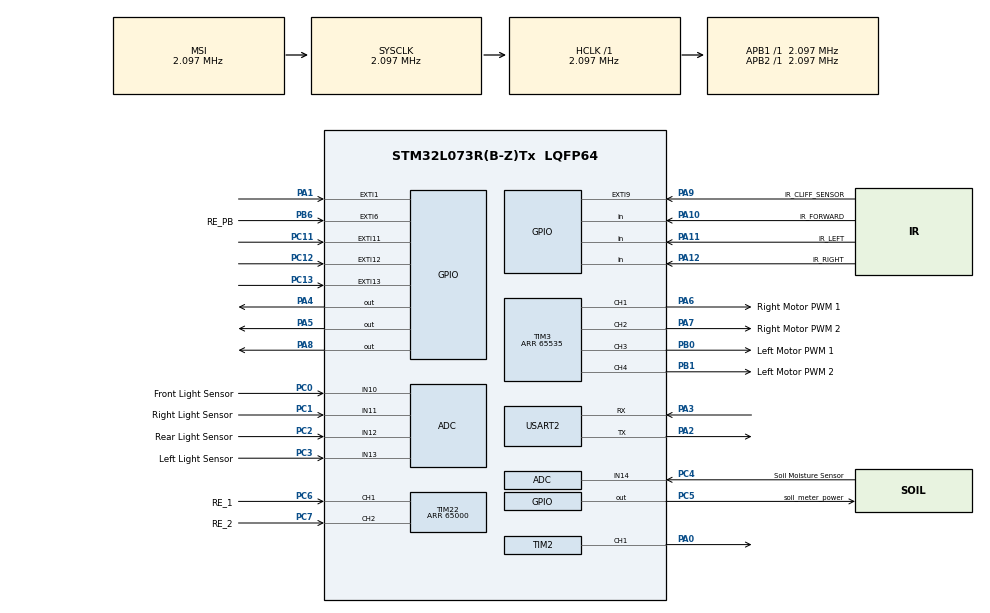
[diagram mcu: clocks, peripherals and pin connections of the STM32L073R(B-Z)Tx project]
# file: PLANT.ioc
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ADC.ClockPrescaler=ADC_CLOCK_SYNC_PCLK_DIV4
ADC.ContinuousConvMode=ENABLE
ADC.SamplingTime=ADC_SAMPLETIME_79CYCLES_5
Mcu.Family=STM32L0
Mcu.Name=STM32L073R(B-Z)Tx
Mcu.Package=LQFP64
NVIC.ADC1_COMP_IRQn=true\:0\:0\:false\:false\:true\:true\:true
NVIC.EXTI0_1_IRQn=true\:0\:0\:false\:false\:true\:true\:true
NVIC.EXTI4_15_IRQn=true\:0\:0\:false\:false\:true\:true\:true
NVIC.TIM21_IRQn=true\:0\:0\:false\:false\:true\:true\:true
NVIC.TIM22_IRQn=true\:0\:0\:false\:false\:true\:true\:true
NVIC.TIM6_DAC_IRQn=true\:0\:0\:false\:false\:true\:true\:true
PA0.GPIO_ModeDefaultPP=GPIO_MODE_AF_PP
PA0.GPIO_PuPd=GPIO_NOPULL
PA0.GPIO_Speed=GPIO_SPEED_FREQ_LOW
PA0.Signal=S_TIM2_CH1
PA1.Signal=GPXTI1
PA10.GPIO_Label=IR_FORWARD
PA10.Signal=GPIO_Input
PA11.GPIO_Label=IR_LEFT
PA11.Signal=GPIO_Input
PA12.GPIO_Label=IR_RIGHT
PA12.Signal=GPIO_Input
PA13.Mode=Serial_Wire
PA13.Signal=SYS_SWDIO
PA14.Mode=Serial_Wire
PA14.Signal=SYS_SWCLK
PA2.GPIO_ModeDefaultPP=GPIO_MODE_AF_PP
PA2.GPIO_PuPd=GPIO_NOPULL
PA2.GPIO_Speed=GPIO_SPEED_FREQ_VERY_HIGH
PA2.Mode=Asynchronous
PA2.Signal=USART2_TX
PA3.GPIO_ModeDefaultPP=GPIO_MODE_AF_PP
PA3.GPIO_PuPd=GPIO_NOPULL
PA3.GPIO_Speed=GPIO_SPEED_FREQ_VERY_HIGH
PA3.Mode=Asynchronous
PA3.Signal=USART2_RX
PA4.GPIO_ModeDefaultOutputPP=GPIO_MODE_OUTPUT_PP
PA4.GPIO_PuPd=GPIO_NOPULL
PA4.GPIO_Speed=GPIO_SPEED_FREQ_LOW
PA4.PinState=GPIO_PIN_RESET
PA4.Signal=GPIO_Output
PA5.GPIO_ModeDefaultOutputPP=GPIO_MODE_OUTPUT_PP
PA5.GPIO_PuPd=GPIO_NOPULL
PA5.GPIO_Speed=GPIO_SPEED_FREQ_LOW
PA5.PinState=GPIO_PIN_RESET
PA5.Signal=GPIO_Output
PA6.GPIO_Label=Right Motor PWM 1
PA6.GPIO_ModeDefaultPP=GPIO_MODE_AF_PP
PA6.GPIO_PuPd=GPIO_NOPULL
PA6.GPIO_Speed=GPIO_SPEED_FREQ_LOW
PA6.Signal=S_TIM3_CH1
PA7.GPIO_Label=Right Motor PWM 2
PA7.GPIO_ModeDefaultPP=GPIO_MODE_AF_PP
PA7.GPIO_PuPd=GPIO_NOPULL
PA7.GPIO_Speed=GPIO_SPEED_FREQ_LOW
PA7.Signal=S_TIM3_CH2
PA8.GPIO_ModeDefaultOutputPP=GPIO_MODE_OUTPUT_PP
PA8.GPIO_PuPd=GPIO_NOPULL
PA8.GPIO_Speed=GPIO_SPEED_FREQ_LOW
PA8.PinState=GPIO_PIN_RESET
PA8.Signal=GPIO_Output
PA9.GPIO_Label=IR_CLIFF_SENSOR
PA9.GPIO_ModeDefaultEXTI=GPIO_MODE_IT_RISING_FALLING
PA9.Signal=GPXTI9
PB0.GPIO_Label=Left Motor PWM 1
PB0.GPIO_ModeDefaultPP=GPIO_MODE_AF_PP
PB0.GPIO_PuPd=GPIO_NOPULL
PB0.GPIO_Speed=GPIO_SPEED_FREQ_LOW
PB0.Signal=S_TIM3_CH3
PB1.GPIO_Label=Left Motor PWM 2
PB1.GPIO_ModeDefaultPP=GPIO_MODE_AF_PP
PB1.GPIO_PuPd=GPIO_NOPULL
PB1.GPIO_Speed=GPIO_SPEED_FREQ_LOW
PB1.Signal=S_TIM3_CH4
PB6.GPIO_Label=RE_PB
PB6.GPIO_ModeDefaultEXTI=GPIO_MODE_IT_RISING
PB6.GPIO_PuPd=GPIO_NOPULL
PB6.Signal=GPXTI6
PC0.GPIO_Label=Front Light Sensor
PC0.Mode=IN10
PC0.Signal=ADC_IN10
PC1.GPIO_Label=Right Light Sensor
PC1.Mode=IN11
PC1.Signal=ADC_IN11
PC11.Signal=GPXTI11
PC12.Signal=GPXTI12
PC13.GPIO_ModeDefaultEXTI=GPIO_MODE_IT_RISING
PC13.GPIO_PuPd=GPIO_NOPULL
PC13.Signal=GPXTI13
PC14-OSC32_IN.Mode=LSE-External-Oscillator
PC14-OSC32_IN.Signal=RCC_OSC32_IN
PC15-OSC32_OUT.Mode=LSE-External-Oscillator
PC15-OSC32_OUT.Signal=RCC_OSC32_OUT
PC2.GPIO_Label=Rear Light Sensor
PC2.Mode=IN12
PC2.Signal=ADC_IN12
PC3.GPIO_Label=Left Light Sensor
PC3.Mode=IN13
PC3.Signal=ADC_IN13
PC4.GPIO_Label=Soil Moisture Sensor
PC4.Mode=IN14
PC4.Signal=ADC_IN14
PC5.GPIO_Label=soil_meter_power
PC5.GPIO_ModeDefaultOutputPP=GPIO_MODE_OUTPUT_PP
PC5.PinState=GPIO_PIN_SET
PC5.Signal=GPIO_Output
PC6.GPIO_Label=RE_1
PC6.GPIO_ModeDefaultPP=GPIO_MODE_AF_PP
PC6.GPIO_PuPd=GPIO_NOPULL
PC6.GPIO_Speed=GPIO_SPEED_FREQ_LOW
PC6.Signal=S_TIM22_CH1
PC7.GPIO_Label=RE_2
PC7.GPIO_ModeDefaultPP=GPIO_MODE_AF_PP
PC7.GPIO_PuPd=GPIO_NOPULL
PC7.GPIO_Speed=GPIO_SPEED_FREQ_LOW
PC7.Signal=S_TIM22_CH2
PH0-OSC_IN.Mode=HSE-External-Oscillator
PH0-OSC_IN.Signal=RCC_OSC_IN
PH1-OSC_OUT.Mode=HSE-External-Oscillator
PH1-OSC_OUT.Signal=RCC_OSC_OUT
ProjectManager.HeapSize=0x200
ProjectManager.StackSize=0x400
ProjectManager.TargetToolchain=STM32CubeIDE
RCC.AHBFreq_Value=2097000
RCC.APB1Freq_Value=2097000
RCC.APB1TimFreq_Value=2097000
RCC.APB2Freq_Value=2097000
RCC.APB2TimFreq_Value=2097000
RCC.HSE_VALUE=8000000
RCC.HSI16_VALUE=16000000
RCC.HSI48_VALUE=48000000
RCC.HSI_VALUE=16000000
RCC.MSI_VALUE=2097000
RCC.SYSCLKFreq_VALUE=2097000
RCC.VCOOutputFreq_Value=48000000
RTC.Alarm-Alarm\ A=RTC_ALARM_A
RTC.AlarmMaskDateWeekDay-Alarm\ A=RTC_ALARMMASK_DATEWEEKDAY
SH.S_TIM22_CH1.0=TIM22_CH1,Encoder_Interface
SH.S_TIM22_CH2.0=TIM22_CH2,Encoder_Interface
SH.S_TIM2_CH1.0=TIM2_CH1,PWM Generation1 CH1
SH.S_TIM3_CH1.0=TIM3_CH1,PWM Generation1 CH1
SH.S_TIM3_CH2.0=TIM3_CH2,PWM Generation2 CH2
SH.S_TIM3_CH3.0=TIM3_CH3,PWM Generation3 CH3
SH.S_TIM3_CH4.0=TIM3_CH4,PWM Generation4 CH4
TIM2.Channel-PWM\ Generation1\ CH1=TIM_CHANNEL_1
TIM2.Period=9
TIM2.Prescaler=20
TIM2.Pulse-PWM\ Generation1\ CH1=9
TIM21.Channel-Output\ Compare1\ No\ Output=TIM_CHANNEL_1
TIM21.OCMode_1=TIM_OCMODE_ACTIVE
TIM21.Period=209
TIM21.Prescaler=0
TIM22.CounterMode=TIM_COUNTERMODE_UP
TIM22.EncoderMode=TIM_ENCODERMODE_TI12
TIM22.IC1Filter=10
TIM22.IC1Polarity=TIM_ICPOLARITY_FALLING
TIM22.IC1Prescaler=TIM_ICPSC_DIV1
TIM22.IC2Filter=10
TIM22.IC2Polarity=TIM_ICPOLARITY_FALLING
TIM22.IC2Prescaler=TIM_ICPSC_DIV1
TIM22.Period=65000
TIM3.Channel-PWM\ Generation1\ CH1=TIM_CHANNEL_1
TIM3.Channel-PWM\ Generation2\ CH2=TIM_CHANNEL_2
TIM3.Channel-PWM\ Generation3\ CH3=TIM_CHANNEL_3
TIM3.Channel-PWM\ Generation4\ CH4=TIM_CHANNEL_4
TIM3.Period=65535
TIM6.Period=499
TIM6.Prescaler=2099
USART2.VirtualMode-Asynchronous=VM_ASYNC
VP_RTC_VS_RTC_Activate.Mode=RTC_Enabled
VP_RTC_VS_RTC_Alarm_A_Intern.Mode=Alarm A
VP_RTC_VS_RTC_Calendar.Mode=RTC_Calendar
VP_TIM21_VS_no_output1.Mode=Output Compare1 No Output
VP_TIM2_VS_ClockSourceINT.Mode=Internal
VP_TIM2_VS_ClockSourceITR.Mode=TriggerSource_ITR0
VP_TIM6_VS_ClockSourceINT.Mode=Enable_Timer
board=NUCLEO-L073RZ

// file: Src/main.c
/* USER CODE BEGIN Header */
/**
  ******************************************************************************
  * @file           : main.c
  * @brief          : Main program body
  ******************************************************************************
  * @attention
  *
  * <h2><center>&copy; Copyright (c) 2019 STMicroelectronics.
  * All rights reserved.</center></h2>
  *
  * This software component is licensed by ST under BSD 3-Clause license,
  * the "License"; You may not use this file except in compliance with the
  * License. You may obtain a copy of the License at:
  *                        opensource.org/licenses/BSD-3-Clause
  *
  ******************************************************************************
  */
/* USER CODE END Header */

#include "main.h"

/* USER CODE BEGIN Includes */
//#define ARM_MATH_CM0PLUS
//#define ARM_MATH_CM0_FAMILY
//#define __FPU_PRESENT 1
//#include "arm_math.h"
#include "stdio.h"
#include "math.h"
/* USER CODE END Includes */

/* USER CODE BEGIN PD */
#define WHEEL_DIAMETER 65.0 // Wheel Diameter in mm
#define WHEEL_CIRCUMFRENCE 204 // Wheel Circumfrence in mm
#define ENCODER_PPR 800 // 800 pulses per one wheel revolution.
#define MOTOR_MAX_SPEED 65535 // uint16_t max
// Movement Directional Defines
#define TURN_LEFT 0
#define TURN_RIGHT 1
#define FORWARD 2
#define REVERSE 3
// Robot Cardinal Directions
#define ROBOT_FRONT 0
#define ROBOT_LEFT 1
#define ROBOT_REAR 2
#define ROBOT_RIGHT 3

// printf redirect
//#ifdef __GNUC__
/* With GCC/RAISONANCE, small printf (option LD Linker->Libraries->Small printf
 set to 'Yes') calls __io_putchar() */
#define PUTCHAR_PROTOTYPE int __io_putchar(int ch)
//#else
//#define PUTCHAR_PROTOTYPE int fputc(int ch, FILE *f)
//#endif /* __GNUC__ */

void myTim2Init(void);
void myDMAInit(uint32_t* buffer, uint32_t length);
void push_button(void);
/* USER CODE END PD */

/* USER CODE BEGIN PM */

// Enable Left sensor
void init_Left(){
	GPIOA->ODR |= GPIO_PIN_4;
}
void init_Right(){
	GPIOA->ODR &= ~GPIO_PIN_4;
	GPIOA->ODR |= GPIO_PIN_8;
}
void init_Straight(){
	GPIOA->ODR &= ~GPIO_PIN_8;
}
void myTim2Init(void){
	RCC->IOPENR |= RCC_IOPENR_IOPAEN;
	RCC->APB1ENR |= RCC_APB1ENR_TIM2EN;
	GPIOA->MODER |= 2;
	GPIOA->AFR[0] |= 2;
	GPIOA->OSPEEDR |= 2;
	TIM2->PSC = 20;
	TIM2->ARR = 9;
	TIM2->CCMR1 |= TIM_CCMR1_OC1M_2 | TIM_CCMR1_OC1M_1;
	TIM2->CCR1 = 9;
	TIM2->CCER |= 1;
	TIM2->CR1 |= 1;
	RCC->APB1ENR |= RCC_APB1ENR_TIM2EN;
	RCC->APB1ENR |= RCC_APB1ENR_TIM6EN;
}
void myDMAInit(uint32_t* buffer, uint32_t length){
	RCC->AHBENR |= RCC_AHBENR_DMA1EN;
	DMA1_Channel1->CCR &= ~DMA_CCR_MEM2MEM;

	DMA1_Channel1->CCR &= ~DMA_CCR_PL;
	DMA1_Channel1->CCR |= DMA_CCR_PL_1;

	DMA1_Channel1->CCR &= ~DMA_CCR_PSIZE;
	DMA1_Channel1->CCR |= DMA_CCR_PSIZE_0; // 16bits

	DMA1_Channel1->CCR &= ~DMA_CCR_MSIZE;
	DMA1_Channel1->CCR |= DMA_CCR_MSIZE_0; // 16bits

	DMA1_Channel1->CCR &= ~DMA_CCR_PINC;

	DMA1_Channel1->CCR |= DMA_CCR_MINC;

	DMA1_Channel1->CCR &= ~DMA_CCR_CIRC;
	DMA1_Channel1->CCR |= DMA_CCR_CIRC;

	DMA1_Channel1->CCR &= ~DMA_CCR_DIR;

	DMA1_Channel1->CNDTR = length;

	DMA1_Channel1->CPAR = (uint32_t) &(ADC1->DR);

	DMA1_Channel1->CMAR = (uint32_t) buffer;

	DMA1_CSELR->CSELR &= ~DMA_CSELR_C1S;
	DMA1_Channel1->CCR |= DMA_CCR_EN;
}
/* USER CODE END PM */

ADC_HandleTypeDef hadc;

RTC_HandleTypeDef hrtc;

TIM_HandleTypeDef htim2;
TIM_HandleTypeDef htim3;
TIM_HandleTypeDef htim6;
TIM_HandleTypeDef htim21;
TIM_HandleTypeDef htim22;

UART_HandleTypeDef huart2;

/* USER CODE BEGIN PV */
//uint32_t nLoop=0;
//int r_enc_cnt = 0;
int r_dir; // set initial dir of both motors to forward
int l_dir;
int cms = 0;
int seconds = 0;
int r_enc_setpoint = 0;
int r_enc_currentPos = 0;
int l_enc_setpoint = 0;
int l_enc_currentPos = 0;
//arm_pid_instance_f32 R_PID;
//arm_pid_instance_f32 L_PID;
uint32_t nLoop=0;
int sense1 = 0;
int sense2 = 0;
int sense3 = 0;
int sense4 = 0;
int ten_hz_counter=0;
uint16_t ADC_Values[5], buffer[5];
int state = 0;
int Kp = 100;
int i = 0;
int hold = 0;
int ir_seeking;
int count = 0;
int left = 0;
int right = 0;
int LCheck = 0;
int RCheck = 0;
int move = 0;
char checkSoil = 0;
char cliff_detected = 0;
char obstacle_detected = 0;
uint8_t next_second;
int robot_x;
int robot_y;
float robot_theta;
int push = 0;
int LLevel = 0;
/* USER CODE END PV */

void SystemClock_Config(void);
static void MX_GPIO_Init(void);
static void MX_USART2_UART_Init(void);
static void MX_TIM2_Init(void);
static void MX_TIM6_Init(void);
static void MX_TIM21_Init(void);
static void MX_TIM22_Init(void);
static void MX_TIM3_Init(void);
static void MX_ADC_Init(void);
static void MX_RTC_Init(void);
/* USER CODE BEGIN PFP */
void Left_Motor_PWM_Gen(int speed, int brake);
void Left_Motor_Position_Controller(void);
void Right_Motor_Position_Controller(void);
void Right_Motor_PWM_Gen(int speed, int brake);
int check_light(void);
int light_direction(void);
void turn_until_light(int dir, int compare_value);
void forward_until_light(int compare_value);
void IR_LOCATE(void);
//void Read_Light_Sensors(void);

/* USER CODE END PFP */

int main(void)
{

  /* MCU Configuration--------------------------------------------------------*/

  /* Reset of all peripherals, Initializes the Flash interface and the Systick. */
  HAL_Init();

  /* USER CODE BEGIN Init */
//  R_PID.Kp = 500;
//  R_PID.Kd = 0;
//  R_PID.Ki = 0;
//  arm_pid_init_f32(&R_PID, 1);
//  L_PID.Kp = 500;
//  L_PID.Kd = 0;
//  L_PID.Ki = 0;
//  arm_pid_init_f32(&L_PID, 1);
  /* USER CODE END Init */

  /* Configure the system clock */
  SystemClock_Config();

  /* Initialize all configured peripherals */
  MX_GPIO_Init();
  MX_USART2_UART_Init();
  MX_TIM2_Init();
  MX_TIM6_Init();
  MX_TIM21_Init();
  MX_TIM22_Init();
  MX_TIM3_Init();
  MX_ADC_Init();
  MX_RTC_Init();
  /* USER CODE BEGIN 2 */
  r_enc_setpoint = 0;
  l_enc_setpoint = 0;

  printf("Hello...\r\n");
  HAL_ADCEx_Calibration_Start(&hadc, ADC_SINGLE_ENDED);
  HAL_TIM_PWM_Start(&htim3, TIM_CHANNEL_1);
  HAL_TIM_PWM_Start(&htim3, TIM_CHANNEL_2);
  HAL_TIM_PWM_Start(&htim3, TIM_CHANNEL_3);
  HAL_TIM_PWM_Start(&htim3, TIM_CHANNEL_4);
//  HAL_ADC_Start_DMA(&hadc, (uint32_t*)buffer, 20);
  myTim2Init();
  TIM6->CR1 |= 1;
  HAL_TIM_Base_Start_IT(&htim6);
  HAL_TIM_Base_Start_IT(&htim21);
  HAL_TIM_Encoder_Start_IT(&htim22,TIM_CHANNEL_ALL);
  __HAL_TIM_SET_COMPARE(&htim21, TIM_CHANNEL_1, 0);
  __HAL_RTC_ALARM_ENABLE_IT(&hrtc, RTC_IT_ALRA);

  /* USER CODE END 2 */

  /* Infinite loop */
  /* USER CODE BEGIN WHILE */
  int dir = 0;
  // ADC DMA Config
  myDMAInit((uint32_t*) buffer, 5);
  ADC1->CFGR1 |= ADC_CFGR1_DMACFG;
  ADC1->CFGR1 |= ADC_CFGR1_DMAEN;
  ADC1->CFGR1 |= ADC_CFGR1_CONT;
  ADC1->IER |= ADC_IER_EOSIE;
  ADC1->CR |= ADC_CR_ADEN;
  ADC1->CR |= ADC_CR_ADSTART;
  state = 0;
  ir_seeking = 0;

  // Intialize robot spacial reference
  robot_x = 0;
  robot_y = 0;
  robot_theta = 0;

  while (1)
  {
    /* USER CODE END WHILE */

    /* USER CODE BEGIN 3 */
//	  RTC_TimeTypeDef sTime;
//	  		HAL_RTC_GetTime(&hrtc, &sTime, RTC_FORMAT_BCD);
//	  		printf("Current Time: %2u:%2u:%2u\r\n", sTime.Hours, sTime.Minutes, sTime.Seconds);

	if(state==0){
		dir = check_light();

			if(dir != -1 && dir != ROBOT_FRONT){
				turn_until_light(dir==ROBOT_LEFT?TURN_LEFT:TURN_RIGHT, 0);
			} else {
				if(!obstacle_detected)
					forward_until_light(-1);
				else
					move_robot(0,0);
			}
	}
	if(state==1){
		// ToDo: Ultrasonic Turning Demo next
		if(!obstacle_detected)
			move_robot(FORWARD,30000);
		else {
			if(move == 1){
				move_robot(TURN_LEFT, 30000);
			} else if(move == 2){
				move_robot(TURN_RIGHT, 30000);
			} else
				move_robot(0,0);
		}
	}
	if(state == 2 || state == 3){
		move_robot(0,0);
	}
	if(state==4){
	// IR Seeking Demo
			IR_LOCATE();
	}
	i = TIM22->CNT;
	HAL_Delay(200);
	if (hold > i){
		if (push) {
			LLevel--;
			if (LLevel < 0){
				LLevel = 3;
			}
			printf("Current Light level: %d\r\n", LLevel);
		}
		printf("turn left\r\n");
		hold = i;
	}
	else if (hold < i) {
		if (push){
			LLevel = ++LLevel % 4;
			printf("Current Light level: %d\r\n", LLevel);
		}
	  printf("turn right\r\n");
	  hold = i;
	}

	if(checkSoil){
		printf("soil moisture level %d\r\n", ADC_Values[4]);
		checkSoil = 0;
	}
	cliff_sense();
//	HAL_Delay(200);
//	printf("i = %d\r\n", i);
  }
  /* USER CODE END 3 */
}

void SystemClock_Config(void)
{
  RCC_OscInitTypeDef RCC_OscInitStruct = {0};
  RCC_ClkInitTypeDef RCC_ClkInitStruct = {0};
  RCC_PeriphCLKInitTypeDef PeriphClkInit = {0};

  /** Configure the main internal regulator output voltage
  */
  __HAL_PWR_VOLTAGESCALING_CONFIG(PWR_REGULATOR_VOLTAGE_SCALE1);
  /** Initializes the CPU, AHB and APB busses clocks
  */
  RCC_OscInitStruct.OscillatorType = RCC_OSCILLATORTYPE_LSI|RCC_OSCILLATORTYPE_MSI;
  RCC_OscInitStruct.LSIState = RCC_LSI_ON;
  RCC_OscInitStruct.MSIState = RCC_MSI_ON;
  RCC_OscInitStruct.MSICalibrationValue = 0;
  RCC_OscInitStruct.MSIClockRange = RCC_MSIRANGE_5;
  RCC_OscInitStruct.PLL.PLLState = RCC_PLL_NONE;
  if (HAL_RCC_OscConfig(&RCC_OscInitStruct) != HAL_OK)
  {
    Error_Handler();
  }
  /** Initializes the CPU, AHB and APB busses clocks
  */
  RCC_ClkInitStruct.ClockType = RCC_CLOCKTYPE_HCLK|RCC_CLOCKTYPE_SYSCLK
                              |RCC_CLOCKTYPE_PCLK1|RCC_CLOCKTYPE_PCLK2;
  RCC_ClkInitStruct.SYSCLKSource = RCC_SYSCLKSOURCE_MSI;
  RCC_ClkInitStruct.AHBCLKDivider = RCC_SYSCLK_DIV1;
  RCC_ClkInitStruct.APB1CLKDivider = RCC_HCLK_DIV1;
  RCC_ClkInitStruct.APB2CLKDivider = RCC_HCLK_DIV1;

  if (HAL_RCC_ClockConfig(&RCC_ClkInitStruct, FLASH_LATENCY_0) != HAL_OK)
  {
    Error_Handler();
  }
  PeriphClkInit.PeriphClockSelection = RCC_PERIPHCLK_USART2|RCC_PERIPHCLK_RTC;
  PeriphClkInit.Usart2ClockSelection = RCC_USART2CLKSOURCE_PCLK1;
  PeriphClkInit.RTCClockSelection = RCC_RTCCLKSOURCE_LSI;
  if (HAL_RCCEx_PeriphCLKConfig(&PeriphClkInit) != HAL_OK)
  {
    Error_Handler();
  }
}

static void MX_ADC_Init(void)
{

  ADC_ChannelConfTypeDef sConfig = {0};

  /** Configure the global features of the ADC (Clock, Resolution, Data Alignment and number of conversion)
  */
  hadc.Instance = ADC1;
  hadc.Init.OversamplingMode = DISABLE;
  hadc.Init.ClockPrescaler = ADC_CLOCK_SYNC_PCLK_DIV4;
  hadc.Init.Resolution = ADC_RESOLUTION_12B;
  hadc.Init.SamplingTime = ADC_SAMPLETIME_79CYCLES_5;
  hadc.Init.ScanConvMode = ADC_SCAN_DIRECTION_FORWARD;
  hadc.Init.DataAlign = ADC_DATAALIGN_RIGHT;
  hadc.Init.ContinuousConvMode = ENABLE;
  hadc.Init.DiscontinuousConvMode = DISABLE;
  hadc.Init.ExternalTrigConvEdge = ADC_EXTERNALTRIGCONVEDGE_NONE;
  hadc.Init.ExternalTrigConv = ADC_SOFTWARE_START;
  hadc.Init.DMAContinuousRequests = DISABLE;
  hadc.Init.EOCSelection = ADC_EOC_SINGLE_CONV;
  hadc.Init.Overrun = ADC_OVR_DATA_PRESERVED;
  hadc.Init.LowPowerAutoWait = DISABLE;
  hadc.Init.LowPowerFrequencyMode = DISABLE;
  hadc.Init.LowPowerAutoPowerOff = DISABLE;
  if (HAL_ADC_Init(&hadc) != HAL_OK)
  {
    Error_Handler();
  }
  /** Configure for the selected ADC regular channel to be converted.
  */
  sConfig.Channel = ADC_CHANNEL_10;
  sConfig.Rank = ADC_RANK_CHANNEL_NUMBER;
  if (HAL_ADC_ConfigChannel(&hadc, &sConfig) != HAL_OK)
  {
    Error_Handler();
  }
  /** Configure for the selected ADC regular channel to be converted.
  */
  sConfig.Channel = ADC_CHANNEL_11;
  if (HAL_ADC_ConfigChannel(&hadc, &sConfig) != HAL_OK)
  {
    Error_Handler();
  }
  /** Configure for the selected ADC regular channel to be converted.
  */
  sConfig.Channel = ADC_CHANNEL_12;
  if (HAL_ADC_ConfigChannel(&hadc, &sConfig) != HAL_OK)
  {
    Error_Handler();
  }
  /** Configure for the selected ADC regular channel to be converted.
  */
  sConfig.Channel = ADC_CHANNEL_13;
  if (HAL_ADC_ConfigChannel(&hadc, &sConfig) != HAL_OK)
  {
    Error_Handler();
  }
  /** Configure for the selected ADC regular channel to be converted.
  */
  sConfig.Channel = ADC_CHANNEL_14;
  if (HAL_ADC_ConfigChannel(&hadc, &sConfig) != HAL_OK)
  {
    Error_Handler();
  }

}

static void MX_RTC_Init(void)
{

  RTC_TimeTypeDef sTime = {0};
  RTC_DateTypeDef sDate = {0};
  RTC_AlarmTypeDef sAlarm = {0};

  /** Initialize RTC Only
  */
  hrtc.Instance = RTC;
  hrtc.Init.HourFormat = RTC_HOURFORMAT_24;
  hrtc.Init.AsynchPrediv = 127;
  hrtc.Init.SynchPrediv = 255;
  hrtc.Init.OutPut = RTC_OUTPUT_DISABLE;
  hrtc.Init.OutPutRemap = RTC_OUTPUT_REMAP_NONE;
  hrtc.Init.OutPutPolarity = RTC_OUTPUT_POLARITY_HIGH;
  hrtc.Init.OutPutType = RTC_OUTPUT_TYPE_OPENDRAIN;
  if (HAL_RTC_Init(&hrtc) != HAL_OK)
  {
    Error_Handler();
  }

  /** Initialize RTC and set the Time and Date
  */
  sTime.Hours = 0x0;
  sTime.Minutes = 0x0;
  sTime.Seconds = 0x0;
  sTime.DayLightSaving = RTC_DAYLIGHTSAVING_NONE;
  sTime.StoreOperation = RTC_STOREOPERATION_RESET;
  if (HAL_RTC_SetTime(&hrtc, &sTime, RTC_FORMAT_BCD) != HAL_OK)
  {
    Error_Handler();
  }
  sDate.WeekDay = RTC_WEEKDAY_MONDAY;
  sDate.Month = RTC_MONTH_JANUARY;
  sDate.Date = 0x1;
  sDate.Year = 0x0;

  if (HAL_RTC_SetDate(&hrtc, &sDate, RTC_FORMAT_BCD) != HAL_OK)
  {
    Error_Handler();
  }
  /** Enable the Alarm A
  */
  sAlarm.AlarmTime.Hours = 0x0;
  sAlarm.AlarmTime.Minutes = 0x0;
  sAlarm.AlarmTime.Seconds = 0x0;
  sAlarm.AlarmTime.SubSeconds = 0x0;
  sAlarm.AlarmTime.DayLightSaving = RTC_DAYLIGHTSAVING_NONE;
  sAlarm.AlarmTime.StoreOperation = RTC_STOREOPERATION_RESET;
  sAlarm.AlarmMask = RTC_ALARMMASK_DATEWEEKDAY;
  sAlarm.AlarmSubSecondMask = RTC_ALARMSUBSECONDMASK_ALL;
  sAlarm.AlarmDateWeekDaySel = RTC_ALARMDATEWEEKDAYSEL_DATE;
  sAlarm.AlarmDateWeekDay = 0x1;
  sAlarm.Alarm = RTC_ALARM_A;
  if (HAL_RTC_SetAlarm(&hrtc, &sAlarm, RTC_FORMAT_BCD) != HAL_OK)
  {
    Error_Handler();
  }
  /* USER CODE BEGIN RTC_Init 2 */
//  	  RTC_TimeTypeDef sTime;
//  	  HAL_RTC_GetTime(&hrtc, &sTime, RTC_FORMAT_BCD);
//  		printf("Current Time: %2u:%2u:%2u\r\n", sTime.Hours, sTime.Minutes, sTime.Seconds);
  /* USER CODE END RTC_Init 2 */

}

static void MX_TIM2_Init(void)
{

  TIM_ClockConfigTypeDef sClockSourceConfig = {0};
  TIM_SlaveConfigTypeDef sSlaveConfig = {0};
  TIM_MasterConfigTypeDef sMasterConfig = {0};
  TIM_OC_InitTypeDef sConfigOC = {0};

  htim2.Instance = TIM2;
  htim2.Init.Prescaler = 20;
  htim2.Init.CounterMode = TIM_COUNTERMODE_UP;
  htim2.Init.Period = 9;
  htim2.Init.ClockDivision = TIM_CLOCKDIVISION_DIV1;
  htim2.Init.AutoReloadPreload = TIM_AUTORELOAD_PRELOAD_DISABLE;
  if (HAL_TIM_Base_Init(&htim2) != HAL_OK)
  {
    Error_Handler();
  }
  sClockSourceConfig.ClockSource = TIM_CLOCKSOURCE_INTERNAL;
  if (HAL_TIM_ConfigClockSource(&htim2, &sClockSourceConfig) != HAL_OK)
  {
    Error_Handler();
  }
  if (HAL_TIM_PWM_Init(&htim2) != HAL_OK)
  {
    Error_Handler();
  }
  sSlaveConfig.SlaveMode = TIM_SLAVEMODE_DISABLE;
  sSlaveConfig.InputTrigger = TIM_TS_ITR0;
  if (HAL_TIM_SlaveConfigSynchro(&htim2, &sSlaveConfig) != HAL_OK)
  {
    Error_Handler();
  }
  sMasterConfig.MasterOutputTrigger = TIM_TRGO_RESET;
  sMasterConfig.MasterSlaveMode = TIM_MASTERSLAVEMODE_DISABLE;
  if (HAL_TIMEx_MasterConfigSynchronization(&htim2, &sMasterConfig) != HAL_OK)
  {
    Error_Handler();
  }
  sConfigOC.OCMode = TIM_OCMODE_PWM1;
  sConfigOC.Pulse = 9;
  sConfigOC.OCPolarity = TIM_OCPOLARITY_HIGH;
  sConfigOC.OCFastMode = TIM_OCFAST_DISABLE;
  if (HAL_TIM_PWM_ConfigChannel(&htim2, &sConfigOC, TIM_CHANNEL_1) != HAL_OK)
  {
    Error_Handler();
  }
  if (HAL_TIMEx_RemapConfig(&htim2, TIM3_TI1_GPIO) != HAL_OK)
  {
    Error_Handler();
  }
  HAL_TIM_MspPostInit(&htim2);

}

static void MX_TIM3_Init(void)
{

  TIM_MasterConfigTypeDef sMasterConfig = {0};
  TIM_OC_InitTypeDef sConfigOC = {0};

  htim3.Instance = TIM3;
  htim3.Init.Prescaler = 0;
  htim3.Init.CounterMode = TIM_COUNTERMODE_UP;
  htim3.Init.Period = 65535;
  htim3.Init.ClockDivision = TIM_CLOCKDIVISION_DIV1;
  htim3.Init.AutoReloadPreload = TIM_AUTORELOAD_PRELOAD_DISABLE;
  if (HAL_TIM_PWM_Init(&htim3) != HAL_OK)
  {
    Error_Handler();
  }
  sMasterConfig.MasterOutputTrigger = TIM_TRGO_RESET;
  sMasterConfig.MasterSlaveMode = TIM_MASTERSLAVEMODE_DISABLE;
  if (HAL_TIMEx_MasterConfigSynchronization(&htim3, &sMasterConfig) != HAL_OK)
  {
    Error_Handler();
  }
  sConfigOC.OCMode = TIM_OCMODE_PWM1;
  sConfigOC.Pulse = 0;
  sConfigOC.OCPolarity = TIM_OCPOLARITY_HIGH;
  sConfigOC.OCFastMode = TIM_OCFAST_DISABLE;
  if (HAL_TIM_PWM_ConfigChannel(&htim3, &sConfigOC, TIM_CHANNEL_1) != HAL_OK)
  {
    Error_Handler();
  }
  if (HAL_TIMEx_RemapConfig(&htim3, TIM3_TI1_GPIO) != HAL_OK)
  {
    Error_Handler();
  }
  if (HAL_TIM_PWM_ConfigChannel(&htim3, &sConfigOC, TIM_CHANNEL_2) != HAL_OK)
  {
    Error_Handler();
  }
  if (HAL_TIM_PWM_ConfigChannel(&htim3, &sConfigOC, TIM_CHANNEL_3) != HAL_OK)
  {
    Error_Handler();
  }
  if (HAL_TIM_PWM_ConfigChannel(&htim3, &sConfigOC, TIM_CHANNEL_4) != HAL_OK)
  {
    Error_Handler();
  }
  HAL_TIM_MspPostInit(&htim3);

}

static void MX_TIM6_Init(void)
{

  TIM_MasterConfigTypeDef sMasterConfig = {0};

  htim6.Instance = TIM6;
  htim6.Init.Prescaler = 2099;
  htim6.Init.CounterMode = TIM_COUNTERMODE_UP;
  htim6.Init.Period = 499;
  htim6.Init.AutoReloadPreload = TIM_AUTORELOAD_PRELOAD_DISABLE;
  if (HAL_TIM_Base_Init(&htim6) != HAL_OK)
  {
    Error_Handler();
  }
  sMasterConfig.MasterOutputTrigger = TIM_TRGO_RESET;
  sMasterConfig.MasterSlaveMode = TIM_MASTERSLAVEMODE_DISABLE;
  if (HAL_TIMEx_MasterConfigSynchronization(&htim6, &sMasterConfig) != HAL_OK)
  {
    Error_Handler();
  }

}

static void MX_TIM21_Init(void)
{

  TIM_MasterConfigTypeDef sMasterConfig = {0};
  TIM_OC_InitTypeDef sConfigOC = {0};

  htim21.Instance = TIM21;
  htim21.Init.Prescaler = 0;
  htim21.Init.CounterMode = TIM_COUNTERMODE_UP;
  htim21.Init.Period = 209;
  htim21.Init.ClockDivision = TIM_CLOCKDIVISION_DIV1;
  htim21.Init.AutoReloadPreload = TIM_AUTORELOAD_PRELOAD_DISABLE;
  if (HAL_TIM_OC_Init(&htim21) != HAL_OK)
  {
    Error_Handler();
  }
  sMasterConfig.MasterOutputTrigger = TIM_TRGO_RESET;
  sMasterConfig.MasterSlaveMode = TIM_MASTERSLAVEMODE_DISABLE;
  if (HAL_TIMEx_MasterConfigSynchronization(&htim21, &sMasterConfig) != HAL_OK)
  {
    Error_Handler();
  }
  sConfigOC.OCMode = TIM_OCMODE_ACTIVE;
  sConfigOC.Pulse = 0;
  sConfigOC.OCPolarity = TIM_OCPOLARITY_HIGH;
  sConfigOC.OCFastMode = TIM_OCFAST_DISABLE;
  if (HAL_TIM_OC_ConfigChannel(&htim21, &sConfigOC, TIM_CHANNEL_1) != HAL_OK)
  {
    Error_Handler();
  }

}

static void MX_TIM22_Init(void)
{

  TIM_Encoder_InitTypeDef sConfig = {0};
  TIM_MasterConfigTypeDef sMasterConfig = {0};

  htim22.Instance = TIM22;
  htim22.Init.Prescaler = 0;
  htim22.Init.CounterMode = TIM_COUNTERMODE_UP;
  htim22.Init.Period = 65000;
  htim22.Init.ClockDivision = TIM_CLOCKDIVISION_DIV1;
  htim22.Init.AutoReloadPreload = TIM_AUTORELOAD_PRELOAD_DISABLE;
  sConfig.EncoderMode = TIM_ENCODERMODE_TI12;
  sConfig.IC1Polarity = TIM_ICPOLARITY_FALLING;
  sConfig.IC1Selection = TIM_ICSELECTION_DIRECTTI;
  sConfig.IC1Prescaler = TIM_ICPSC_DIV1;
  sConfig.IC1Filter = 10;
  sConfig.IC2Polarity = TIM_ICPOLARITY_FALLING;
  sConfig.IC2Selection = TIM_ICSELECTION_DIRECTTI;
  sConfig.IC2Prescaler = TIM_ICPSC_DIV1;
  sConfig.IC2Filter = 10;
  if (HAL_TIM_Encoder_Init(&htim22, &sConfig) != HAL_OK)
  {
    Error_Handler();
  }
  sMasterConfig.MasterOutputTrigger = TIM_TRGO_RESET;
  sMasterConfig.MasterSlaveMode = TIM_MASTERSLAVEMODE_DISABLE;
  if (HAL_TIMEx_MasterConfigSynchronization(&htim22, &sMasterConfig) != HAL_OK)
  {
    Error_Handler();
  }
  if (HAL_TIMEx_RemapConfig(&htim22, TIM3_TI1_GPIO) != HAL_OK)
  {
    Error_Handler();
  }
  /* USER CODE BEGIN TIM22_Init 2 */
  if (HAL_TIMEx_RemapConfig(&htim22, TIM22_TI1_GPIO) != HAL_OK)
    {
      Error_Handler();
    }
  /* USER CODE END TIM22_Init 2 */

}

static void MX_USART2_UART_Init(void)
{

  huart2.Instance = USART2;
  huart2.Init.BaudRate = 115200;
  huart2.Init.WordLength = UART_WORDLENGTH_8B;
  huart2.Init.StopBits = UART_STOPBITS_1;
  huart2.Init.Parity = UART_PARITY_NONE;
  huart2.Init.Mode = UART_MODE_TX_RX;
  huart2.Init.HwFlowCtl = UART_HWCONTROL_NONE;
  huart2.Init.OverSampling = UART_OVERSAMPLING_16;
  huart2.Init.OneBitSampling = UART_ONE_BIT_SAMPLE_DISABLE;
  huart2.AdvancedInit.AdvFeatureInit = UART_ADVFEATURE_NO_INIT;
  if (HAL_UART_Init(&huart2) != HAL_OK)
  {
    Error_Handler();
  }

}

static void MX_GPIO_Init(void)
{
  GPIO_InitTypeDef GPIO_InitStruct = {0};

  /* GPIO Ports Clock Enable */
  __HAL_RCC_GPIOC_CLK_ENABLE();
  __HAL_RCC_GPIOH_CLK_ENABLE();
  __HAL_RCC_GPIOA_CLK_ENABLE();
  __HAL_RCC_GPIOB_CLK_ENABLE();

  /*Configure GPIO pin Output Level */
  HAL_GPIO_WritePin(GPIOA, GPIO_PIN_4|GPIO_PIN_5|GPIO_PIN_8, GPIO_PIN_RESET);

  /*Configure GPIO pin Output Level */
  HAL_GPIO_WritePin(soil_meter_power_GPIO_Port, soil_meter_power_Pin, GPIO_PIN_SET);

  /*Configure GPIO pins : PC13 PC11 PC12 */
  GPIO_InitStruct.Pin = GPIO_PIN_13|GPIO_PIN_11|GPIO_PIN_12;
  GPIO_InitStruct.Mode = GPIO_MODE_IT_RISING;
  GPIO_InitStruct.Pull = GPIO_NOPULL;
  HAL_GPIO_Init(GPIOC, &GPIO_InitStruct);

  /*Configure GPIO pin : PA1 */
  GPIO_InitStruct.Pin = GPIO_PIN_1;
  GPIO_InitStruct.Mode = GPIO_MODE_IT_RISING;
  GPIO_InitStruct.Pull = GPIO_NOPULL;
  HAL_GPIO_Init(GPIOA, &GPIO_InitStruct);

  /*Configure GPIO pins : PA4 PA5 PA8 */
  GPIO_InitStruct.Pin = GPIO_PIN_4|GPIO_PIN_5|GPIO_PIN_8;
  GPIO_InitStruct.Mode = GPIO_MODE_OUTPUT_PP;
  GPIO_InitStruct.Pull = GPIO_NOPULL;
  GPIO_InitStruct.Speed = GPIO_SPEED_FREQ_LOW;
  HAL_GPIO_Init(GPIOA, &GPIO_InitStruct);

  /*Configure GPIO pin : soil_meter_power_Pin */
  GPIO_InitStruct.Pin = soil_meter_power_Pin;
  GPIO_InitStruct.Mode = GPIO_MODE_OUTPUT_PP;
  GPIO_InitStruct.Pull = GPIO_NOPULL;
  GPIO_InitStruct.Speed = GPIO_SPEED_FREQ_LOW;
  HAL_GPIO_Init(soil_meter_power_GPIO_Port, &GPIO_InitStruct);

  /*Configure GPIO pin : IR_CLIFF_SENSOR_Pin */
  GPIO_InitStruct.Pin = IR_CLIFF_SENSOR_Pin;
  GPIO_InitStruct.Mode = GPIO_MODE_IT_RISING_FALLING;
  GPIO_InitStruct.Pull = GPIO_NOPULL;
  HAL_GPIO_Init(IR_CLIFF_SENSOR_GPIO_Port, &GPIO_InitStruct);

  /*Configure GPIO pins : IR_FORWARD_Pin IR_LEFT_Pin IR_RIGHT_Pin */
  GPIO_InitStruct.Pin = IR_FORWARD_Pin|IR_LEFT_Pin|IR_RIGHT_Pin;
  GPIO_InitStruct.Mode = GPIO_MODE_INPUT;
  GPIO_InitStruct.Pull = GPIO_NOPULL;
  HAL_GPIO_Init(GPIOA, &GPIO_InitStruct);

  /*Configure GPIO pin : RE_PB_Pin */
  GPIO_InitStruct.Pin = RE_PB_Pin;
  GPIO_InitStruct.Mode = GPIO_MODE_IT_RISING;
  GPIO_InitStruct.Pull = GPIO_NOPULL;
  HAL_GPIO_Init(RE_PB_GPIO_Port, &GPIO_InitStruct);

  /* EXTI interrupt init*/
  HAL_NVIC_SetPriority(EXTI0_1_IRQn, 0, 0);
  HAL_NVIC_EnableIRQ(EXTI0_1_IRQn);

  HAL_NVIC_SetPriority(EXTI4_15_IRQn, 0, 0);
  HAL_NVIC_EnableIRQ(EXTI4_15_IRQn);

}

/* USER CODE BEGIN 4 */
/**
 * @brief Retargets the C library printf function to the USART.
 * @param None
 * @retval None
 */
PUTCHAR_PROTOTYPE
{
 /* Place your implementation of fputc here */
 /* e.g. write a character to the USART2 and Loop until the end of transmission */
 HAL_UART_Transmit(&huart2, (uint8_t *)&ch, 1, 0xFFFF);

return ch;
}

void Right_Encoder_Interrupt_Handler(void){
//	r_enc_cnt++;
	if(r_dir==1)
		r_enc_currentPos++;
	else
		r_enc_currentPos--;
}

void Left_Encoder_Interrupt_Handler(void){
	if(l_dir==1)
		l_enc_currentPos++;
	else
		l_enc_currentPos--;
}

void Right_Motor_PWM_Gen(int speed, int brake){
	// if brake is true, brake and ignore speed setting
	if (brake){
		__HAL_TIM_SET_COMPARE(&htim3, TIM_CHANNEL_1, MOTOR_MAX_SPEED);
		__HAL_TIM_SET_COMPARE(&htim3, TIM_CHANNEL_2, MOTOR_MAX_SPEED);
	} else {
		// Negative speed corresponds to opposite direction
		if(speed < 0){
			r_dir = 0;
			speed = -speed;
		} else
			r_dir = 1;
		// can't go faster than the PWM generator can handle (100% duty cycle)
		if(speed > MOTOR_MAX_SPEED)
			speed = MOTOR_MAX_SPEED;

		// r_dir == 1 corresponds to forward turn (PWM1 on, PWM2 off)
		if(r_dir==1){
			__HAL_TIM_SET_COMPARE(&htim3, TIM_CHANNEL_1, speed);
			__HAL_TIM_SET_COMPARE(&htim3, TIM_CHANNEL_2, 0);
		} else {
			__HAL_TIM_SET_COMPARE(&htim3, TIM_CHANNEL_1, 0);
			__HAL_TIM_SET_COMPARE(&htim3, TIM_CHANNEL_2, speed);
		}
	}
}

void Left_Motor_PWM_Gen(int speed, int brake){
	// if brake is true, brake and ignore speed setting
	if (brake){
		__HAL_TIM_SET_COMPARE(&htim3, TIM_CHANNEL_3, MOTOR_MAX_SPEED);
		__HAL_TIM_SET_COMPARE(&htim3, TIM_CHANNEL_4, MOTOR_MAX_SPEED);
	} else {
		// Negative speed corresponds to opposite direction
		if(speed < 0){
			l_dir = 0;
			speed = -speed;
		} else
			l_dir = 1;
		// can't go faster than the PWM generator can handle (100% duty cycle)
		if(speed > MOTOR_MAX_SPEED)
			speed = MOTOR_MAX_SPEED;

		// l_dir == 1 corresponds to forward turn (PWM1 on, PWM2 off)
		if(l_dir==1){
			__HAL_TIM_SET_COMPARE(&htim3, TIM_CHANNEL_3, speed);
			__HAL_TIM_SET_COMPARE(&htim3, TIM_CHANNEL_4, 0);
		} else {
			__HAL_TIM_SET_COMPARE(&htim3, TIM_CHANNEL_3, 0);
			__HAL_TIM_SET_COMPARE(&htim3, TIM_CHANNEL_4, speed);
		}
	}
}

void Right_Motor_Position_Controller(void){
//	if(r_enc_setpoint < 0){
//		r_enc_setpoint = -r_enc_setpoint;
//		r_dir = 0;
//	} else {
//		r_dir = 1;
//	}
  	int r_pid_error = r_enc_setpoint - r_enc_currentPos; // Compute error
//  	int duty = (int)arm_pid_f32(&R_PID, r_pid_error); // Compute PID controller output
  	if(fabs(r_pid_error)  < 5)
  		Right_Motor_PWM_Gen(0, 1); // Switch to brake mode if within 0.5% off setpoint
  	else{
  		int duty = Kp * r_pid_error;
  		Right_Motor_PWM_Gen(duty, 0);
  	}

}

void Left_Motor_Position_Controller(void){
//	if(l_enc_setpoint < 0){
//			l_enc_setpoint = -l_enc_setpoint;
//			l_dir = 0;
//	} else {
//			l_dir = 1;
//	}
  	int l_pid_error = l_enc_setpoint - l_enc_currentPos; // Compute error
//  	int duty = (int)arm_pid_f32(&L_PID, l_pid_error); // Compute PID controller output
  	if(fabs(l_pid_error)  < 5)
  		Left_Motor_PWM_Gen(0, 1); // Switch to brake mode if within 0.5% off setpoint
  	else{
  		int duty = Kp * l_pid_error;
  		Left_Motor_PWM_Gen(duty, 0);
  	}

}

// MOVE ROBOT
void move_robot(short dir, int speed){
	if(speed <= 0 || cliff_detected){
		Right_Motor_PWM_Gen(0,1);
		Left_Motor_PWM_Gen(0,1);
	} else {
		if(dir == TURN_LEFT){
			Right_Motor_PWM_Gen(speed,0);
			Left_Motor_PWM_Gen(-speed,0);
	} else if(dir == TURN_RIGHT){
			Right_Motor_PWM_Gen(-speed,0);
			Left_Motor_PWM_Gen(speed,0);
	} else if(dir == FORWARD){
		Right_Motor_PWM_Gen(speed,0);
		Left_Motor_PWM_Gen(speed,0);
	} else if(dir == REVERSE){
		Right_Motor_PWM_Gen(-speed,0);
		Left_Motor_PWM_Gen(-speed,0);
	}
	}
}

void TEN_KHZ_TIM_Interrupt_Handler(void){
//	ten_hz_counter++;
//	// Check 10 times per second
//	if(ten_hz_counter >= 1000){
//		ten_hz_counter = 0;
//	}
}

void TIM22_Interrupt_Handler(void){
//	HAL_Delay(200);

}
// Debugging function - prints the right motor encoder reading when the blue button is pushed
void Print_Encoder_Reading(void)
{
	printf("Rotations: %d          \r", r_enc_currentPos);
	fflush(stdout);
//	r_enc_currentPos = 0;
}

void ADC_ConvCpltCallback(void)
{
	for(int i = 0; i < 5; i++){
		ADC_Values[i] = buffer[i];
	}
//	printf("%u, %u, %u, %u\r\n", ADC_Values[0], ADC_Values[1],ADC_Values[2], ADC_Values[3]);
}

void HAL_ADC_ErrorCallback(ADC_HandleTypeDef* hadc)
{
	printf("ERROR\r\n");
}

/**
 *  @brief This function computes the optimal light direction if 1 direction is 5% brighter than the other 3, otherwise returns -1
 */
int check_light(void){
//	return 0;
	int front = (int)ADC_Values[0];
	int left = (int)ADC_Values[1];
	int rear = (int)ADC_Values[2];
	int right = (int)ADC_Values[3];

	int sum = front+left+rear+right;
	int avg =  (float)sum / 4;

	int max = fmax(fmax(front, left), fmax(rear, right));

	float deviation = (float) (max-avg) / avg;
	if(deviation < 0.25)
		return -1;
	return light_direction();
}

/**
 * @brief Turn the robot until eval_fun returns a value equal to compare_value
 * @param dir: direction to turn, 0 = LEFT, 1 = RIGHT
 */
void turn_until_light(int dir, int compare_value){
//	move_robot(0,0);
//	int setpoint = 800;
	if(dir){
		move_robot(TURN_LEFT, 30000);
	} else {
		move_robot(TURN_RIGHT, 30000);
	}
}

/**
 * @brief This function moves the robot forward until eval_fun returns a value equal to compare_value
 */
void forward_until_light(int compare_value){
//	r_enc_currentPos = 0;
//	l_enc_currentPos = 0;
//	int setpoint = 800;
	if(cliff_detected)
		move_robot(0, 0);
	else{
		if(check_light() == compare_value){
			move_robot(0, 0);
		} else {
			move_robot(FORWARD, 30000);
		}
	}
}

int light_direction(void){
	uint16_t max = 0;
	int maxIndex = 0;
	for(int i = 0; i <= 3; i++){
		if(ADC_Values[i] > max){
			max = ADC_Values[i];
			maxIndex = i;
		}
	}
	return maxIndex;
}

void RTC_Init(void){
//	LCD_RTC_Clock_Enable();
//	RCC->CSR |= RCC_CSR_RTCEN;
//
//	RTC->WPR = 0xCA;
//	RTC->WPR = 0x53;
//	RTC->ISR |= RTC_ISR_INIT;
//	while((RTC->ISR & RTC_ISR_INITF) == 0);
//	RTC->CR &= ~RTC_CR_FMT;
//	RTC->PRER |= (2<<7 - 1) << 16;
//	RTC->PRER |= (2<<8 - 1);
//
//	//call phills function to get time then write here.
//
//	RTC->TR = 0<<22 | 1<<20 | 1<<16 | 3<<12| 2<<8; //time
//	RTC->DR = 1<<20 | 6<<16 | 0<<12 | 5<<8 | 2<<4 | 7; //date, not used but initialized for reasons.
//
//	RTC->ISR &= ~RTC_ISR_INIT;
//	RTC->WPR = 0xFF;
}

void Print_RENC_Reading(void){
}

void check_soil(void){
	if(!checkSoil){
		GPIOC->ODR |= (1<<5);
		checkSoil = 1;
	} else {
		GPIOC->ODR &= ~(1<<5);
	}
}

void IR_LOCATE(void){
	int pins = ((GPIOA->IDR>>10) & 7);
	if(pins == 0){
		move_robot(0,0);
		printf("NO IR\r\n");
	}
	if(pins == 1){
		printf("Hard Left\r\n");
		move_robot(TURN_LEFT, 20000);
	}
	if(pins == 2){
		printf("Hard Right\r\n");
		move_robot(TURN_RIGHT, 20000);
	}
	if(pins == 3){
		printf("Forward\r\n");
		move_robot(FORWARD, 20000);
	}
	if(pins == 4){
		printf("Forward\r\n");
		move_robot(FORWARD, 20000);
	}
	if(pins == 5){
		printf("Soft Left\r\n");
		move_robot(TURN_LEFT, 10000);
	}
	if(pins == 6){
		printf("Soft Right\r\n");
		move_robot(TURN_RIGHT, 10000);
	}
	if(pins == 7){
		printf("Forward\r\n");
		move_robot(FORWARD, 20000);
	}
}

void checkTurn(void){
	if ((move == 1) && (count > 600)){
		printf("Keep turning left\r\n");
	}
	else if ((move == 2) && (count > 600)){
		printf("Keep turning right\r\n");
	}
	else {
		printf("Good to go Forward\r\n");
		move = 0;
	}
}
void checkStraight(void){
	if (count > 600){
		obstacle_detected = 1;
		if(state==0){
//			obstacle_detected = 1;
			printf("Stop\r\n");
		} else {
			printf("checkDirection\r\n");
			left = 1;
			init_Left();
		}
	} else {
		obstacle_detected = 0;
	}

}
void checkLeft(void){
	left++;
	if (count > 600){
		printf("Left Not good\r\n");
	}
	if (left > 3){
		left = 0;
		right = 1;
		init_Right();
	}
	LCheck += count;
}
void checkRight(void){
	right++;
	if (count > 600){
		printf("Right Not Good\r\n");

	}
	if (right > 3){
		left = 0;
		right = 0;
	}
	RCheck += count;
}
void determineDir(void){
	if (LCheck < RCheck){
		printf("Turn Left\r\n");
		move = 1;
	}
	else {
		printf("Turn Right\r\n");
		move = 2;
	}
	init_Straight();
	LCheck = 0;
	RCheck = 0;
}
void countUp(void){
	count++;
}
void TIM6_UltraSonic_Handler(void){
	if(state==2){
		RTC_TimeTypeDef sTime;
		RTC_DateTypeDef sDate;
		HAL_RTC_GetTime(&hrtc, &sTime, RTC_FORMAT_BIN);
		HAL_RTC_GetDate(&hrtc, &sDate, RTC_FORMAT_BCD);
		printf("Current Time: %2u:%2u:%2u\r\n", sTime.Hours, sTime.Minutes, sTime.Seconds);
	}
//	RTC_DateTypeDef sDate;
//	RTC_TimeTypeDef sTime;
//	HAL_RTC_GetTime(&hrtc, &sTime, RTC_FORMAT_BIN);
//	HAL_RTC_GetDate(&hrtc, &sDate, RTC_FORMAT_BIN);
////	uint8_t next_second = sTime.Seconds+5;
//	printf("Current Time is: %u/%u/%u, %u L %u : %u\r\n", sDate.Month, sDate.Date, sDate.Year, sTime.Hours, sTime.Minutes, sTime.Seconds);
	if (move > 0){
		checkTurn();
	}
	else if ((left == right) && (LCheck == RCheck)){
		checkStraight();
	}
	else if(left > 0){
		checkLeft();
	}
	else if(right > 0){
		checkRight();
	}
	else if ((RCheck > 0) && (LCheck > 0)){
		determineDir();
	}
	count = 0;
}
void HAL_RTC_AlarmAEventCallback(RTC_HandleTypeDef* hrtc){

	RTC_DateTypeDef sDate;
	RTC_TimeTypeDef sTime;
	HAL_RTC_GetTime(hrtc, &sTime, RTC_FORMAT_BIN);
	HAL_RTC_GetDate(hrtc, &sDate, RTC_FORMAT_BIN);
	printf("Current Time: %2u:%2u:%2u\r\n", sTime.Hours, sTime.Minutes, sTime.Seconds);
	printf("Returning to Base Station");
	state = 3;

//    RTC_AlarmTypeDef sAlarm;
//    sAlarm.AlarmTime.Hours = RTC_ByteToBcd2(next_hour);
//    sAlarm.AlarmTime.Minutes = RTC_ByteToBcd2(next_minute);
//    sAlarm.AlarmTime.Seconds =  RTC_ByteToBcd2(next_second);
//    sAlarm.AlarmTime.SubSeconds = 0x0;
//    sAlarm.AlarmTime.DayLightSaving = RTC_DAYLIGHTSAVING_NONE;
//    sAlarm.AlarmTime.StoreOperation = RTC_STOREOPERATION_RESET;
//    sAlarm.AlarmMask = RTC_ALARMMASK_DATEWEEKDAY;
//    sAlarm.AlarmSubSecondMask = RTC_ALARMSUBSECONDMASK_ALL;
//    sAlarm.AlarmDateWeekDaySel = RTC_ALARMDATEWEEKDAYSEL_DATE;
//    sAlarm.AlarmDateWeekDay = 0x1;
//    sAlarm.Alarm = RTC_ALARM_A;
//	HAL_RTC_SetAlarm_IT(hrtc, &sAlarm, FORMAT_BCD);
//	RTC_AlarmTypeDef sAlarm = {0};
}
void nextState(void){
	state = (++state) % 5;
	if(state == 2 ){
		RTC_TimeTypeDef sTime = {0};
		sTime.Hours = RTC_ByteToBcd2(20);
		sTime.Minutes = RTC_ByteToBcd2(59);
		sTime.Seconds = RTC_ByteToBcd2(50);
		sTime.DayLightSaving = RTC_DAYLIGHTSAVING_NONE;
		HAL_RTC_SetTime(&hrtc, &sTime, RTC_FORMAT_BCD);
//		RTC_TimeTypeDef sTime;
		RTC_DateTypeDef sDate;
		HAL_RTC_GetTime(&hrtc, &sTime, RTC_FORMAT_BIN);
		HAL_RTC_GetDate(&hrtc, &sDate, RTC_FORMAT_BCD);
		printf("Current Time: %2u:%2u:%2u\r\n", sTime.Hours, sTime.Minutes, sTime.Seconds);
	}
	printf("State: %d\r\n", state);
}

void cliff_sense(void){
	if(!HAL_GPIO_ReadPin(GPIOA, GPIO_PIN_9))
		cliff_detected = 1;
	else
		cliff_detected = 0;
}
void push_button(void){
	if (push){
		printf("New light level %d\n\r", LLevel);

	}
	else {
		printf("Current light level %d\n\r", LLevel);
	}
	push ^= 1;

}
/* USER CODE END 4 */

void Error_Handler(void)
{
  /* USER CODE BEGIN Error_Handler_Debug */
	printf("ERRORRRRRR\r\n");
  /* User can add his own implementation to report the HAL error return state */

  /* USER CODE END Error_Handler_Debug */
}

/************************ (C) COPYRIGHT STMicroelectronics *****END OF FILE****/
